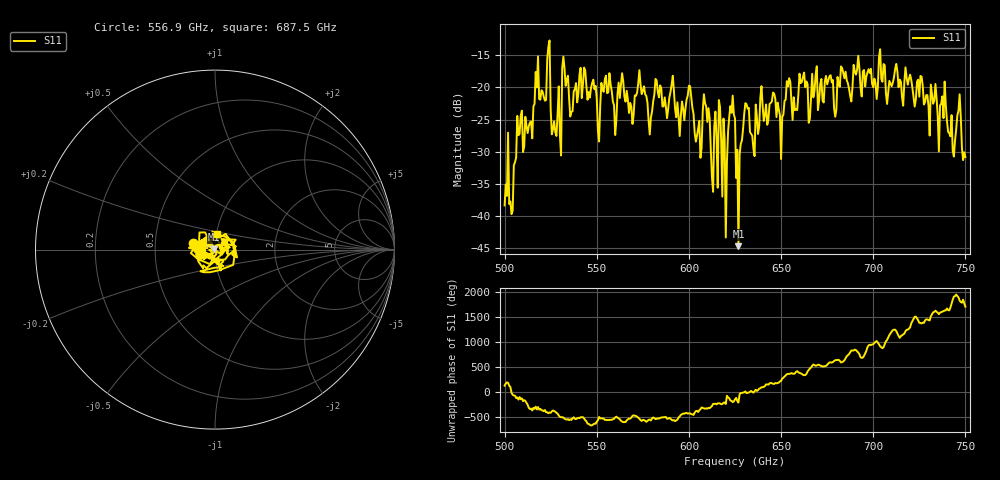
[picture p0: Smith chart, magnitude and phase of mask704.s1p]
!Created with skrf (http://scikit-rf.org).
# GHz S MA R 50.0
!freq magS11 angS11
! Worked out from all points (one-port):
!   401 points, 500 GHz to 750 GHz, reference 50 ohm
!   lowest |S11| = -44.6 dB at 626.9 GHz (marker M1), VSWR 1.01, Z = 49.5 + j0.268 ohm
!   |S11| at or under -10 dB: start of sweep to end of sweep
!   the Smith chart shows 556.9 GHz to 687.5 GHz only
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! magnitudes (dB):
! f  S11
! 500 GHz  -38.3
! 503.8 GHz  -39.7
! 508.1 GHz  -27.2
! 516.9 GHz  -17.6
! 523.8 GHz  -13.7
! 526.9 GHz  -25.3
! 531.2 GHz  -17.0
! 562.5 GHz  -21.7
! 593.8 GHz  -22.3
! 600 GHz  -19.7
! 605.6 GHz  -25.2
! 609.4 GHz  -23.0
! 611.9 GHz  -29.7
! 617.5 GHz  -28.2
! 619.4 GHz  -28.1
! 622.5 GHz  -22.9
! 625 GHz  -24.8
! 626.9 GHz  -44.6
! 631.2 GHz  -22.6
! 634.4 GHz  -27.5
! 640 GHz  -22.9
! 656.2 GHz  -25.1
! 687.5 GHz  -21.3
! 718.8 GHz  -19.6
! 738.1 GHz  -24.8
! 743.1 GHz  -29.8
! 746.2 GHz  -23.6
! 750 GHz  -30.8
